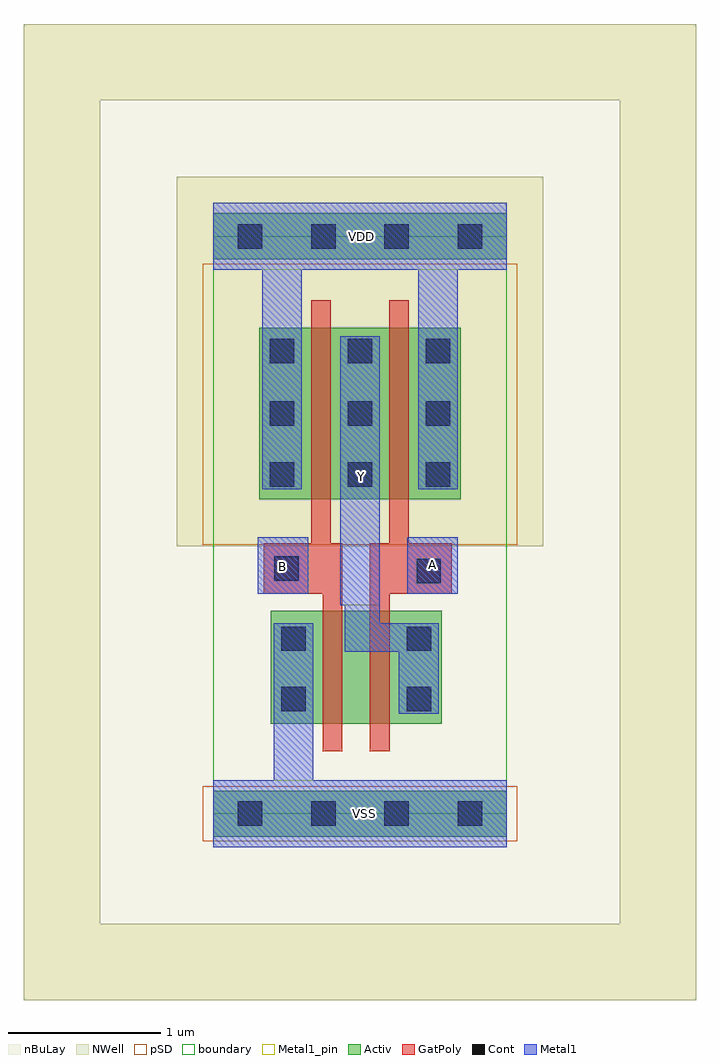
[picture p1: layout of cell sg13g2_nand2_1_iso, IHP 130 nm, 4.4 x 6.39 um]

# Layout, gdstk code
import gdstk
lib = gdstk.Library(unit=1e-6, precision=1e-09)
def R(c, l, rs):  # rectangles x0, y0, x1, y1
    for r in rs: c.add(gdstk.rectangle(r[:2], r[2:], *l))
def A(c, l, x, y, w, h, nx, ny, dx, dy):  # array of equal rectangles
    R(c, l, [(x+i*dx, y+j*dy, x+i*dx+w, y+j*dy+h) for i in range(nx) for j in range(ny)])
def P(c, l, *ps):  # polygons
    for p in ps: c.add(gdstk.Polygon(p, *l))
Activ = (1, 0)
GatPoly = (5, 0)
Cont = (6, 0)
Metal1 = (8, 0)
Metal1_pin = (8, 2)
pSD = (14, 0)
NWell = (31, 0)
nBuLay = (32, 0)
boundary = (189, 4)

sg13g2_nand2_1_iso = lib.new_cell('sg13g2_nand2_1_iso')
R(sg13g2_nand2_1_iso, Activ, [(0,-0.15,1.92,0.15), (0.375,0.59,1.495,1.33), (0.3,2.06,1.62,3.18), (0,3.63,1.92,3.93)])
P(sg13g2_nand2_1_iso, GatPoly, [(0.845,1.77),(0.77,1.77),(0.77,3.36),(0.64,3.36),(0.64,1.77),(0.33,1.77),(0.33,1.44),(0.715,1.44),(0.715,0.41),(0.845,0.41)],
  [(1.56,1.77),(1.28,1.77),(1.28,3.36),(1.15,3.36),(1.15,1.77),(1.025,1.77),(1.025,0.41),(1.155,0.41),(1.155,1.44),(1.56,1.44)])
A(sg13g2_nand2_1_iso, Cont, 0.37, 2.14, 0.16, 0.16, 3, 2, 0.51, 0.4)
A(sg13g2_nand2_1_iso, Cont, 0.37, 2.95, 0.16, 0.16, 3, 1, 0.51, 0)
R(sg13g2_nand2_1_iso, Cont, [(0.16,-0.08,0.32,0.08), (0.16,-0.08,0.32,0.08), (0.64,-0.08,0.8,0.08), (0.64,-0.08,0.8,0.08), (1.12,-0.08,1.28,0.08), (1.12,-0.08,1.28,0.08), (1.6,-0.08,1.76,0.08), (1.6,-0.08,1.76,0.08), (0.445,0.67,0.605,0.83), (1.265,0.67,1.425,0.83), (0.445,1.065,0.605,1.225), (1.265,1.065,1.425,1.225), (1.33,1.51,1.49,1.67), (0.4,1.525,0.56,1.685), (0.16,3.7,0.32,3.86), (0.16,3.7,0.32,3.86), (0.64,3.7,0.8,3.86), (0.64,3.7,0.8,3.86), (1.12,3.7,1.28,3.86), (1.12,3.7,1.28,3.86), (1.6,3.7,1.76,3.86), (1.6,3.7,1.76,3.86)])
R(sg13g2_nand2_1_iso, Metal1, [(0.29,1.44,0.62,1.81), (1.27,1.44,1.6,1.81)])
P(sg13g2_nand2_1_iso, Metal1, [(0,3.56),(0,4),(1.92,4),(1.92,3.56),(1.6,3.56),(1.6,2.125),(1.34,2.125),(1.34,3.56),(0.58,3.56),(0.58,2.125),(0.32,2.125),(0.32,3.56)],
  [(0,-0.22),(0,0.22),(0.395,0.22),(0.395,1.245),(0.655,1.245),(0.655,0.22),(1.92,0.22),(1.92,-0.22)],
  [(1.475,1.245),(1.09,1.245),(1.09,3.125),(0.83,3.125),(0.83,1.365),(0.86,1.365),(0.86,1.06),(1.215,1.06),(1.215,0.655),(1.475,0.655)])
R(sg13g2_nand2_1_iso, Metal1_pin, [(0,-0.22,1.92,0.22), (0.83,1.365,1.09,3.125), (0.29,1.44,0.62,1.81), (1.27,1.44,1.6,1.81), (0,3.56,1.92,4)])
R(sg13g2_nand2_1_iso, pSD, [(-0.07,-0.18,1.99,0.18), (-0.07,1.76,1.99,3.6)])
R(sg13g2_nand2_1_iso, NWell, [(-1.24,-1.22,3.16,-0.72), (-1.24,-0.72,-0.74,4.67), (2.66,-0.72,3.16,4.67), (-0.24,1.75,2.16,4.17), (-1.24,4.67,3.16,5.17)])
P(sg13g2_nand2_1_iso, nBuLay, [(3.16,5.17),(-1.24,5.17),(-1.24,3.63),(0,3.63),(0,3.93),(1.92,3.93),(1.92,3.63),(0,3.63),(-1.24,3.63),(-1.24,-1.22),(3.16,-1.22)])
R(sg13g2_nand2_1_iso, boundary, [(0,0,1.92,3.78)])
sg13g2_nand2_1_iso.add(gdstk.Label('Y', (0.97,2.21), layer=8, texttype=25))
sg13g2_nand2_1_iso.add(gdstk.Label('VDD', (0.97,3.78), layer=8, texttype=25))
sg13g2_nand2_1_iso.add(gdstk.Label('A', (1.435,1.63), layer=8, texttype=25))
sg13g2_nand2_1_iso.add(gdstk.Label('VSS', (0.99,0), layer=8, texttype=25))
sg13g2_nand2_1_iso.add(gdstk.Label('B', (0.45,1.62), layer=8, texttype=25))

lib.write_gds('sg13g2_nand2_1_iso.gds')
